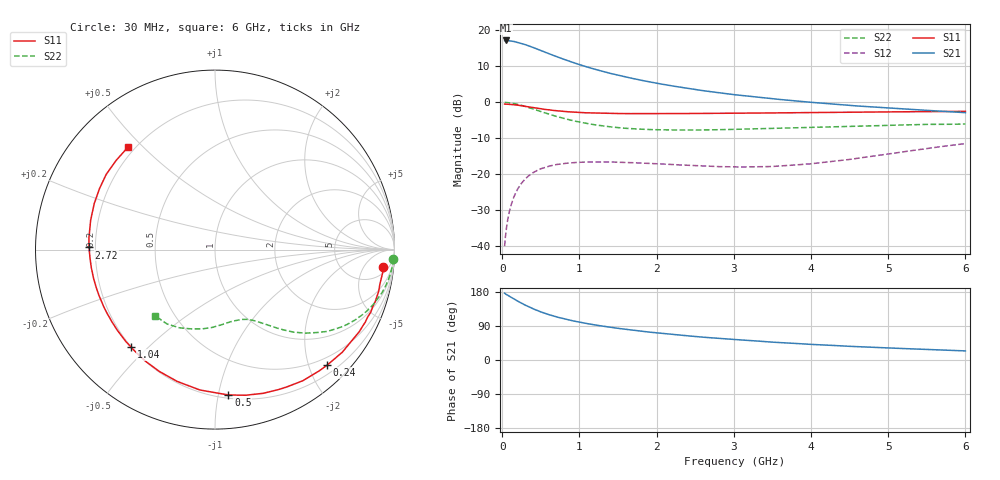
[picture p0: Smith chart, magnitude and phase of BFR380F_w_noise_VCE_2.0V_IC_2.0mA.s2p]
! Infineon Technologies  Discrete & RF Semiconductors
! BFR380F
! VCE =  2.0 V,  IC =  2.0 mA
! Common Emitter S-Parameters:  Nov 2015
# GHz  S  MA  R  50
!  f  S11  S21  S12  S22
! GHz  MAG  ANG  MAG  ANG  MAG  ANG  MAG  ANG
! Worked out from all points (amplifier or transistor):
!   206 points, 30 MHz to 6 GHz, reference 50 ohm
!   highest |S21| = 17.2 dB at 50 MHz (marker M1)
!   |S21| within 3 dB of that: start of sweep to 524.5 MHz
!   unconditionally stable (mu >= 1): 2.774 GHz to 5.215 GHz
!   at 200 MHz: K = 0.06, MSG = 20.4 dB, |S12| = -24.1 dB
!   at 1.56 GHz: K = 0.56, MSG = 12.0 dB, |S12| = -16.7 dB
!   at 6 GHz: K = 0.95, MSG = 4.3 dB, |S12| = -11.5 dB
!   lowest NFmin = 0.77 dB at 450 MHz
!   S11 on the Smith chart (normalised r, x): 30 MHz: 8, -15; 240 MHz: 0.35, -2.32; 500 MHz: 0.22, -1.07; 1.04 GHz: 0.20, -0.44; 2.72 GHz: 0.18, +0.01; 6 GHz: 0.17, +0.45
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0.03  0.9436 -5.9  7.174 176.2  0.01 86.9  0.9951 -3.0
0.05  0.94 -10.0  7.228 173.1  0.0166 84.7  0.9929 -5.0
0.09  0.9387 -18.0  7.154 168.4  0.0298 80.1  0.9835 -8.8
0.15  0.9249 -29.6  7.004 161.1  0.0483 73.7  0.961 -14.5
0.2  0.9109 -38.9  6.798 155.2  0.0625 68.8  0.9349 -18.9
0.24  0.8973 -45.8  6.598 150.9  0.0727 64.9  0.9114 -22.2
0.3  0.8793 -56.2  6.315 144.5  0.0867 59.7  0.8732 -26.7
0.36  0.8566 -65.5  5.977 138.8  0.0984 54.8  0.8331 -30.8
0.4  0.8447 -71.4  5.771 135.0  0.1053 52.0  0.806 -33.2
0.5  0.8135 -84.7  5.244 126.9  0.1192 45.7  0.7424 -38.4
0.6  0.7868 -96.1  4.752 119.9  0.1293 40.4  0.6864 -42.7
0.7  0.7641 -106.0  4.323 113.8  0.1362 36.0  0.6365 -46.3
0.9  0.7327 -121.9  3.617 103.9  0.1444 29.6  0.5597 -51.5
1.04  0.7168 -130.8  3.234 98.2  0.1471 26.4  0.5209 -54.4
1.4  0.6989 -148.2  2.521 86.2  0.1478 21.2  0.4554 -60.7
1.62  0.6949 -155.9  2.221 80.3  0.1455 19.8  0.4331 -64.2
2.02  0.6952 -167.1  1.824 71.2  0.1395 19.4  0.415 -70.3
2.72  0.7016 179.0  1.394 58.3  0.1285 25.0  0.414 -80.9
3.1  0.7055 173.0  1.244 52.8  0.1262 31.2  0.4227 -86.6
4.1  0.7207 157.8  0.979 40.3  0.1436 50.0  0.4497 -100.8
5.1  0.7368 143.9  0.82 31.0  0.1977 61.2  0.4808 -116.2
6  0.7487 130.5  0.717 24.0  0.2667 61.8  0.4981 -132.5
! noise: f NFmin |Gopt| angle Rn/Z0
0.45  0.77  0.52  39  0.21
0.9  0.9  0.48  80  0.18
1.8  1.47  0.5  138  0.12
1.9  1.65  0.52  142  0.12
2.4  1.96  0.53  160  0.1
3.5  2.86  0.58  -170  0.13
